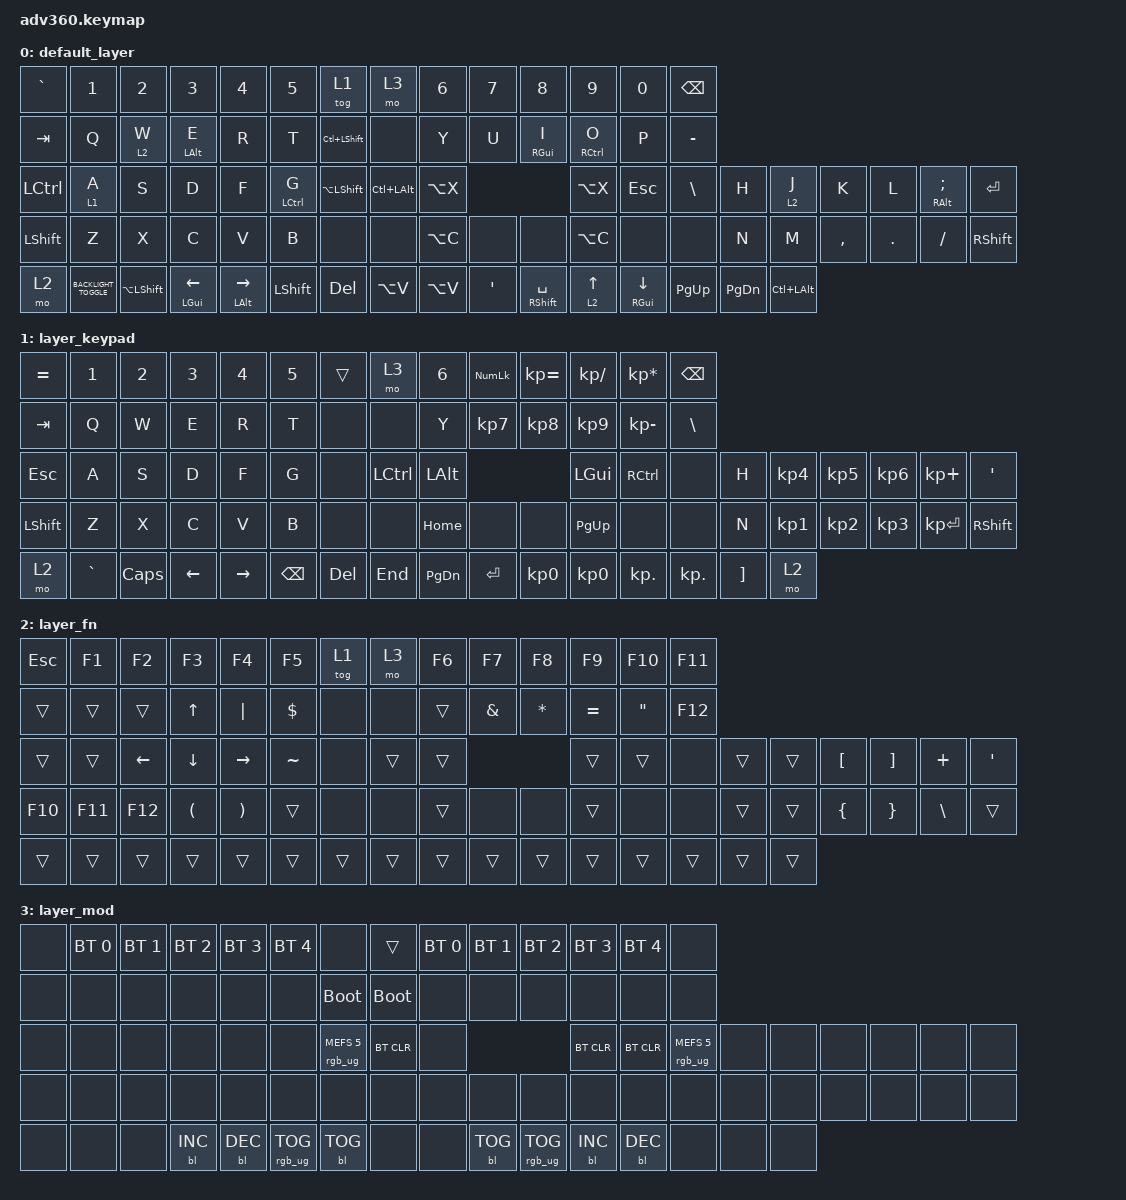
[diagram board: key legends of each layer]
/*
 * Copyright (c) 2020 The ZMK Contributors
 *
 * SPDX-License-Identifier: MIT
 */
/* THIS FILE WAS GENERATED!
 *
 * This file was generated automatically. You may or may not want to
 * edit it directly.
 */

#include <behaviors.dtsi>
#include <dt-bindings/zmk/backlight.h>
#include <dt-bindings/zmk/bt.h>
#include <dt-bindings/zmk/keys.h>
#include <dt-bindings/zmk/rgb.h>

/ {
    behaviors {
        #include "macros.dtsi"

        hm: homerow_mods {
            compatible = "zmk,behavior-hold-tap";
            label = "HOMEROW_MODS";
            #binding-cells = <2>;
            tapping-term-ms = <200>;
            quick_tap_ms = <175>;
            flavor = "tap-preferred";
            bindings = <&kp>, <&kp>;
        };
    };

    keymap {
        compatible = "zmk,keymap";

        default_layer {
            bindings = <
&kp GRAVE  &kp N1                  &kp N2         &kp N3         &kp N4          &kp N5              &tog 1         &mo 3         &kp N6     &kp N7            &kp N8            &kp N9       &kp N0         &kp BACKSPACE
&kp TAB    &kp Q                   &lt 2 W        &hm LALT E     &kp R           &kp T               &kp LC(LSHFT)  &none         &kp Y      &kp U             &hm RGUI I        &hm RCTRL O  &kp P          &kp MINUS
&kp LCTRL  &lt 1 A                 &kp S          &kp D          &kp F           &hm LEFT_CONTROL G  &kp LA(LSHFT)  &kp LC(LALT)  &kp LA(X)                                      &kp LA(X)    &kp ESCAPE     &kp BACKSLASH  &kp H      &lt 2 J       &kp K      &kp L    &hm RALT SEMICOLON  &kp ENTER
&kp LSHFT  &kp Z                   &kp X          &kp C          &kp V           &kp B               &none          &none         &kp LA(C)  &none             &none             &kp LA(C)    &none          &none          &kp N      &kp M         &kp COMMA  &kp DOT  &kp FSLH            &kp RSHFT
&mo 2      &kp C_BACKLIGHT_TOGGLE  &kp LA(LSHFT)  &hm LGUI LEFT  &hm LALT RIGHT  &kp LSHIFT          &kp DEL        &kp LA(V)     &kp LA(V)  &kp SINGLE_QUOTE  &hm RSHIFT SPACE  &lt 2 UP     &hm RGUI DOWN  &kp PG_UP      &kp PG_DN  &kp LC(LALT)
            >;
        };

        layer_keypad {
            bindings = <
&kp EQUAL  &kp N1     &kp N2    &kp N3    &kp N4     &kp N5    &trans   &mo 3      &kp N6     &kp KP_NUM  &kp KP_EQUAL  &kp KP_DIVIDE    &kp KP_MULTIPLY  &kp BSPC
&kp TAB    &kp Q      &kp W     &kp E     &kp R      &kp T     &none    &none      &kp Y      &kp KP_N7   &kp KP_N8     &kp KP_N9        &kp KP_MINUS     &kp BSLH
&kp ESC    &kp A      &kp S     &kp D     &kp F      &kp G     &none    &kp LCTRL  &kp LALT                             &kp LGUI         &kp RCTRL        &none       &kp H     &kp KP_N4  &kp KP_N5  &kp KP_N6  &kp KP_PLUS   &kp SQT
&kp LSHFT  &kp Z      &kp X     &kp C     &kp V      &kp B     &none    &none      &kp HOME   &none       &none         &kp PG_UP        &none            &none       &kp N     &kp KP_N1  &kp KP_N2  &kp KP_N3  &kp KP_ENTER  &kp RSHFT
&mo 2      &kp GRAVE  &kp CAPS  &kp LEFT  &kp RIGHT  &kp BSPC  &kp DEL  &kp END    &kp PG_DN  &kp ENTER   &kp KP_N0     &kp KP_NUMBER_0  &kp KP_DOT       &kp KP_DOT  &kp RBKT  &mo 2
            >;
        };

        layer_fn {
            bindings = <
&kp ESC  &kp F1   &kp F2    &kp F3                &kp F4                 &kp F5      &tog 1  &mo 3   &kp F6  &kp F7         &kp F8        &kp F9     &kp F10            &kp F11
&trans   &trans   &trans    &kp UP                &kp PIPE               &kp DOLLAR  &none   &none   &trans  &kp AMPERSAND  &kp ASTERISK  &kp EQUAL  &kp DOUBLE_QUOTES  &kp F12
&trans   &trans   &kp LEFT  &kp DOWN              &kp RIGHT              &kp TILDE   &none   &trans  &trans                               &trans     &trans             &none    &trans  &trans  &kp LEFT_BRACKET  &kp RIGHT_BRACKET  &kp PLUS       &kp SINGLE_QUOTE
&kp F10  &kp F11  &kp F12   &kp LEFT_PARENTHESIS  &kp RIGHT_PARENTHESIS  &trans      &none   &none   &trans  &none          &none         &trans     &none              &none    &trans  &trans  &kp LEFT_BRACE    &kp RIGHT_BRACE    &kp BACKSLASH  &trans
&trans   &trans   &trans    &trans                &trans                 &trans      &trans  &trans  &trans  &trans         &trans        &trans     &trans             &trans   &trans  &trans
            >;
        };

        layer_mod {
            bindings = <
&none  &bt BT_SEL 0  &bt BT_SEL 1  &bt BT_SEL 2  &bt BT_SEL 3  &bt BT_SEL 4     &none                   &trans       &bt BT_SEL 0  &bt BT_SEL 1  &bt BT_SEL 2     &bt BT_SEL 3  &bt BT_SEL 4  &none
&none  &none         &none         &none         &none         &none            &bootloader             &bootloader  &none         &none         &none            &none         &none         &none
&none  &none         &none         &none         &none         &none            &rgb_ug RGB_MEFS_CMD 5  &bt BT_CLR   &none                                        &bt BT_CLR    &bt BT_CLR    &rgb_ug RGB_MEFS_CMD 5  &none  &none  &none  &none  &none  &none
&none  &none         &none         &none         &none         &none            &none                   &none        &none         &none         &none            &none         &none         &none                   &none  &none  &none  &none  &none  &none
&none  &none         &none         &bl BL_INC    &bl BL_DEC    &rgb_ug RGB_TOG  &bl BL_TOG              &none        &none         &bl BL_TOG    &rgb_ug RGB_TOG  &bl BL_INC    &bl BL_DEC    &none                   &none  &none
            >;
        };
    };
};
